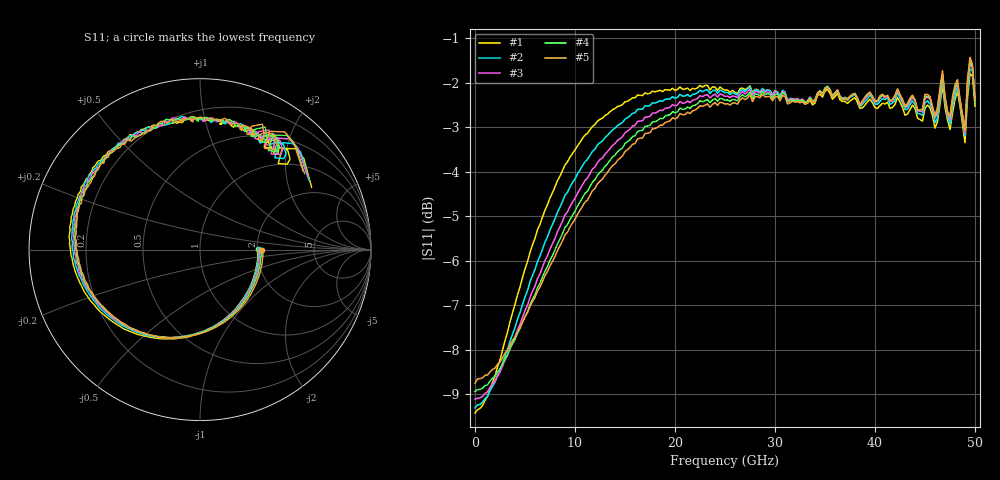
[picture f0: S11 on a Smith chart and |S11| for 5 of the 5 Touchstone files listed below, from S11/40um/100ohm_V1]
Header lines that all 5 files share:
!Agilent Technologies,N5227A,US51270434,A.10.00.00
!Agilent N5227A: A.10.00.00
!Correction: S11(Full 1 Port(1))
!S1P File: Measurement: S11:
# Hz S  dB  R 50
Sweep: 10 MHz to 50 GHz
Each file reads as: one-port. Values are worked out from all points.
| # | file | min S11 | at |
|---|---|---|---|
| 1 | S11_-3V.s1p | -9.4 dB | 10 MHz |
| 2 | S11_-4V.s1p | -9.3 dB | 10 MHz |
| 3 | S11_-5V.s1p | -9.1 dB | 10 MHz |
| 4 | S11_-6V.s1p | -8.9 dB | 10 MHz |
| 5 | S11_-7V.s1p | -8.7 dB | 10 MHz |
